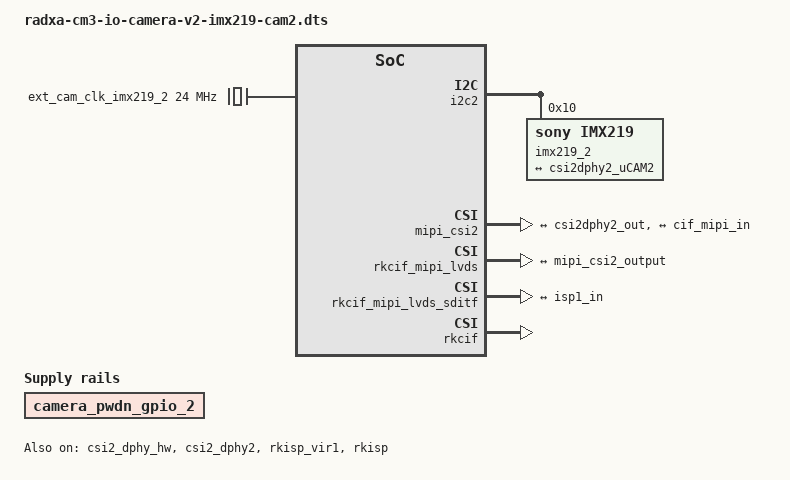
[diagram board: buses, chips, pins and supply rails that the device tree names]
/dts-v1/;
/plugin/;

#include <dt-bindings/gpio/gpio.h>
#include <dt-bindings/pinctrl/rockchip.h>

/ {
	metadata {
		title = "Enable Raspberry Pi Camera v2 on CM3 IO v1.34+ CAM2";
		compatible = "radxa,cm3-io";
		category = "camera";
		exclusive = "csi2_dphy2";
		description = "Enable Raspberry Pi Camera v2 on CM3 IO v1.34+ CAM2.";
	};
};

&{/} {
	ext_cam_clk_imx219_2: ext-cam-clk-imx219-2 {
		status = "okay";
		compatible = "fixed-clock";
		clock-frequency = <24000000>;
		clock-output-names = "ext_cam_clk_imx219_2";
		#clock-cells = <0>;
	};

	camera_pwdn_gpio_2: camera-pwdn-gpio-2 {
		status = "okay";
		compatible = "regulator-fixed";
		regulator-name = "camera_pwdn_gpio_2";
		regulator-always-on;
		regulator-boot-on;
		enable-active-high;
		pwdn-gpios = <&gpio3 RK_PC3 GPIO_ACTIVE_HIGH>;
		pinctrl-names = "default";
		pinctrl-0 = <&cam_pwdn_gpio_2>;
	};
};

&i2c2 {
	status = "okay";
	pinctrl-names = "default";
	pinctrl-0 = <&i2c2m1_xfer>;

	#address-cells = <1>;
	#size-cells = <0>;

	imx219_2: imx219-2@10 {
		status = "okay";
		compatible = "sony,imx219";
		reg = <0x10>;

		clocks = <&ext_cam_clk_imx219_2>;
		clock-names = "ext_cam_clk_imx219_2";

		rotation = <180>;

		rockchip,camera-module-index = <1>;
		rockchip,camera-module-facing = "front";
		rockchip,camera-module-name = "rpi-camera-v2";
		rockchip,camera-module-lens-name = "default";

		port {
			imx219_out_2: endpoint {
				remote-endpoint = <&csi2dphy2_uCAM2>;
				data-lanes = <1 2>;
			};
		};
	};
};

&csi2_dphy_hw {
	status = "okay";
};

&csi2_dphy0 {
	status = "disabled";
};

&csi2_dphy2 {
	status = "okay";

	ports {
		#address-cells = <1>;
		#size-cells = <0>;

		port@0 {
			reg = <0>;
			#address-cells = <1>;
			#size-cells = <0>;

			csi2dphy2_uCAM2: endpoint@1 {
				reg = <1>;
				remote-endpoint = <&imx219_out_2>;
				data-lanes = <1 2>;
			};
		};

		port@1 {
			reg = <1>;
			#address-cells = <1>;
			#size-cells = <0>;

			csi2dphy2_out: endpoint@1 {
				reg = <1>;
				remote-endpoint = <&mipi_csi2_input>;
			};
		};
	};
};

&mipi_csi2 {
	status = "okay";

	ports {
		#address-cells = <1>;
		#size-cells = <0>;

		port@0 {
			reg = <0>;
			#address-cells = <1>;
			#size-cells = <0>;

			mipi_csi2_input: endpoint@1 {
				reg = <1>;
				remote-endpoint = <&csi2dphy2_out>;
				data-lanes = <1 2>;
			};
		};

		port@1 {
			reg = <1>;
			#address-cells = <1>;
			#size-cells = <0>;

			mipi_csi2_output: endpoint@0 {
				reg = <0>;
				remote-endpoint = <&cif_mipi_in>;
				data-lanes = <1 2>;
			};
		};
	};
};

&rkcif_mipi_lvds {
	status = "okay";

	port {
		cif_mipi_in: endpoint {
			remote-endpoint = <&mipi_csi2_output>;
			data-lanes = <1 2>;
		};
	};
};

&rkcif_mipi_lvds_sditf {
	status = "okay";

	port {
		mipi_lvds_sditf: endpoint {
			remote-endpoint = <&isp1_in>;
			data-lanes = <1 2>;
		 };
	};
};

&rkisp_vir1 {
	status = "okay";

	port {
		#address-cells = <1>;
		#size-cells = <0>;

		isp1_in: endpoint@0 {
			reg = <0>;
			remote-endpoint = <&mipi_lvds_sditf>;
		};
	};
};

&rkisp {
	status = "okay";
};

&rkisp_mmu {
	status = "okay";
};

&rkcif_mmu {
	status = "okay";
};

&rkcif {
	status = "okay";
};


&pinctrl {
	camera {
		cam_pwdn_gpio_2: cam-pwdn-gpio-2 {
			rockchip,pins = <3 RK_PC3 RK_FUNC_GPIO &pcfg_pull_up>;
		};
	};
};
